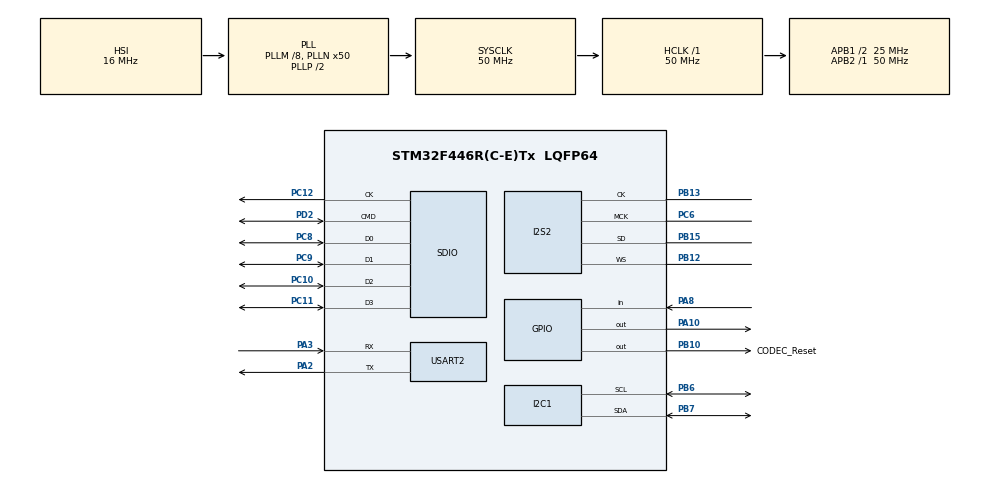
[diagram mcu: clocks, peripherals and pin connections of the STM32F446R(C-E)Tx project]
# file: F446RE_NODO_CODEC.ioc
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Dma.Request0=SPI2_RX
Dma.SPI2_RX.0.Direction=DMA_PERIPH_TO_MEMORY
Dma.SPI2_RX.0.FIFOMode=DMA_FIFOMODE_DISABLE
Dma.SPI2_RX.0.Instance=DMA1_Stream3
Dma.SPI2_RX.0.MemDataAlignment=DMA_MDATAALIGN_BYTE
Dma.SPI2_RX.0.MemInc=DMA_MINC_ENABLE
Dma.SPI2_RX.0.Mode=DMA_NORMAL
Dma.SPI2_RX.0.PeriphDataAlignment=DMA_PDATAALIGN_BYTE
Dma.SPI2_RX.0.PeriphInc=DMA_PINC_DISABLE
Dma.SPI2_RX.0.Priority=DMA_PRIORITY_LOW
FATFS.BSP.number=1
FATFS0.BSP.STBoard=false
FATFS0.BSP.api=Unknown
FATFS0.BSP.instance=PA8
FATFS0.BSP.ip=GPIO
FATFS0.BSP.mode=Input
FATFS0.BSP.name=Detect_SDIO
FATFS0.BSP.solution=PA8
I2S2.AudioFreq=I2S_AUDIOFREQ_48K
I2S2.ClockSource-Half_Duplex_Master=I2S_CLOCK_PLLR
I2S2.ErrorAudioFreq=1.72 %
I2S2.FullDuplexMode=I2S_FULLDUPLEXMODE_DISABLE
I2S2.Instance=SPI$Index
I2S2.Mode=I2S_MODE_MASTER_RX
I2S2.RealAudioFreq=48.828 KHz
I2S2.VirtualMode=I2S_MODE_MASTER
Mcu.Family=STM32F4
Mcu.Name=STM32F446R(C-E)Tx
Mcu.Package=LQFP64
NVIC.DMA1_Stream3_IRQn=true\:0\:0\:false\:false\:true\:false\:true\:true
NVIC.PriorityGroup=NVIC_PRIORITYGROUP_4
PA10.Signal=GPIO_Output
PA2.Mode=Asynchronous
PA2.Signal=USART2_TX
PA3.Mode=Asynchronous
PA3.Signal=USART2_RX
PA8.Signal=GPIO_Input
PB10.GPIO_Label=CODEC_Reset
PB10.Signal=GPIO_Output
PB12.Mode=Half_Duplex_Master
PB12.Signal=I2S2_WS
PB13.Mode=Half_Duplex_Master
PB13.Signal=I2S2_CK
PB15.Mode=Half_Duplex_Master
PB15.Signal=I2S2_SD
PB6.Mode=I2C
PB6.Signal=I2C1_SCL
PB7.Mode=I2C
PB7.Signal=I2C1_SDA
PC10.Mode=SD_4_bits_Wide_bus
PC10.Signal=SDIO_D2
PC11.Mode=SD_4_bits_Wide_bus
PC11.Signal=SDIO_D3
PC12.Mode=SD_4_bits_Wide_bus
PC12.Signal=SDIO_CK
PC6.Mode=Master_Clock_Activated
PC6.Signal=I2S2_MCK
PC8.Mode=SD_4_bits_Wide_bus
PC8.Signal=SDIO_D0
PC9.Mode=SD_4_bits_Wide_bus
PC9.Signal=SDIO_D1
PD2.Mode=SD_4_bits_Wide_bus
PD2.Signal=SDIO_CMD
PH0-OSC_IN.Mode=HSE-External-Oscillator
PH0-OSC_IN.Signal=RCC_OSC_IN
PH1-OSC_OUT.Mode=HSE-External-Oscillator
PH1-OSC_OUT.Signal=RCC_OSC_OUT
ProjectManager.HeapSize=0x200
ProjectManager.StackSize=0x400
ProjectManager.TargetToolchain=STM32CubeIDE
RCC.AHBFreq_Value=50000000
RCC.APB1CLKDivider=RCC_HCLK_DIV2
RCC.APB1Freq_Value=25000000
RCC.APB1TimFreq_Value=50000000
RCC.APB2Freq_Value=50000000
RCC.APB2TimFreq_Value=50000000
RCC.CortexFreq_Value=50000000
RCC.HCLKFreq_Value=50000000
RCC.PLLI2SM=8
RCC.PLLI2SN=50
RCC.PLLM=8
RCC.PLLN=50
RCC.PLLQ=3
RCC.SYSCLKFreq_VALUE=50000000
RCC.SYSCLKSource=RCC_SYSCLKSOURCE_PLLCLK
RCC.USBFreq_Value=33333333.333333332
RCC.VCOOutputFreq_Value=100000000
USART2.VirtualMode=VM_ASYNC
VP_FATFS_VS_SDIO.Mode=SDIO
board=custom

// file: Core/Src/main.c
/* USER CODE BEGIN Header */
/**
 ******************************************************************************
 * @file           : main.c
 * @brief          : Main program body
 ******************************************************************************
 * @attention
 *
 * Copyright (c) 2022 STMicroelectronics.
 * All rights reserved.
 *
 * This software is licensed under terms that can be found in the LICENSE file
 * in the root directory of this software component.
 * If no LICENSE file comes with this software, it is provided AS-IS.
 *
 ******************************************************************************
 */
/* USER CODE END Header */
#include "main.h"
#include "fatfs.h"

/* USER CODE BEGIN Includes */
#include "AIC3254.h"
#include "File_Handling.h"

/* USER CODE END Includes */

/* USER CODE BEGIN PD */
#define CODEC_BUF_LEN	40960
/* USER CODE END PD */

I2C_HandleTypeDef hi2c1;

I2S_HandleTypeDef hi2s2;
DMA_HandleTypeDef hdma_spi2_rx;

SD_HandleTypeDef hsd;

UART_HandleTypeDef huart2;

/* USER CODE BEGIN PV */
AIC3254_t codec;
uint16_t CODEC_BUF[CODEC_BUF_LEN];
uint16_t count;

/* USER CODE END PV */

void SystemClock_Config(void);
static void MX_GPIO_Init(void);
static void MX_DMA_Init(void);
static void MX_I2C1_Init(void);
static void MX_SDIO_SD_Init(void);
static void MX_I2S2_Init(void);
static void MX_USART2_UART_Init(void);

int main(void)
{

  /* MCU Configuration--------------------------------------------------------*/

  /* Reset of all peripherals, Initializes the Flash interface and the Systick. */
  HAL_Init();

  /* Configure the system clock */
  SystemClock_Config();

  /* Initialize all configured peripherals */
  MX_GPIO_Init();
  MX_DMA_Init();
  MX_I2C1_Init();
  MX_SDIO_SD_Init();
  MX_I2S2_Init();
  MX_FATFS_Init();
  MX_USART2_UART_Init();
  /* USER CODE BEGIN 2 */

	/* Initialize CODEC */
  HAL_GPIO_WritePin(CODEC_Reset_GPIO_Port, CODEC_Reset_Pin, GPIO_PIN_SET);
  HAL_Delay(1);
  HAL_GPIO_WritePin(CODEC_Reset_GPIO_Port, CODEC_Reset_Pin, GPIO_PIN_RESET);
  HAL_Delay(1);
  HAL_GPIO_WritePin(CODEC_Reset_GPIO_Port, CODEC_Reset_Pin, GPIO_PIN_SET);
  AIC3254_Init(&codec, &hi2c1);

	/* Buffer Audio */

  HAL_I2S_Receive_DMA(&hi2s2, CODEC_BUF, CODEC_BUF_LEN);

  /* USER CODE END 2 */

  /* Infinite loop */
	while (1) {

	}
}

void SystemClock_Config(void)
{
  RCC_OscInitTypeDef RCC_OscInitStruct = {0};
  RCC_ClkInitTypeDef RCC_ClkInitStruct = {0};

  /** Configure the main internal regulator output voltage
  */
  __HAL_RCC_PWR_CLK_ENABLE();
  __HAL_PWR_VOLTAGESCALING_CONFIG(PWR_REGULATOR_VOLTAGE_SCALE3);

  /** Initializes the RCC Oscillators according to the specified parameters
  * in the RCC_OscInitTypeDef structure.
  */
  RCC_OscInitStruct.OscillatorType = RCC_OSCILLATORTYPE_HSI;
  RCC_OscInitStruct.HSIState = RCC_HSI_ON;
  RCC_OscInitStruct.HSICalibrationValue = RCC_HSICALIBRATION_DEFAULT;
  RCC_OscInitStruct.PLL.PLLState = RCC_PLL_ON;
  RCC_OscInitStruct.PLL.PLLSource = RCC_PLLSOURCE_HSI;
  RCC_OscInitStruct.PLL.PLLM = 8;
  RCC_OscInitStruct.PLL.PLLN = 50;
  RCC_OscInitStruct.PLL.PLLP = RCC_PLLP_DIV2;
  RCC_OscInitStruct.PLL.PLLQ = 3;
  RCC_OscInitStruct.PLL.PLLR = 2;
  if (HAL_RCC_OscConfig(&RCC_OscInitStruct) != HAL_OK)
  {
    Error_Handler();
  }

  /** Initializes the CPU, AHB and APB buses clocks
  */
  RCC_ClkInitStruct.ClockType = RCC_CLOCKTYPE_HCLK|RCC_CLOCKTYPE_SYSCLK
                              |RCC_CLOCKTYPE_PCLK1|RCC_CLOCKTYPE_PCLK2;
  RCC_ClkInitStruct.SYSCLKSource = RCC_SYSCLKSOURCE_PLLCLK;
  RCC_ClkInitStruct.AHBCLKDivider = RCC_SYSCLK_DIV1;
  RCC_ClkInitStruct.APB1CLKDivider = RCC_HCLK_DIV2;
  RCC_ClkInitStruct.APB2CLKDivider = RCC_HCLK_DIV1;

  if (HAL_RCC_ClockConfig(&RCC_ClkInitStruct, FLASH_LATENCY_1) != HAL_OK)
  {
    Error_Handler();
  }
}

static void MX_I2C1_Init(void)
{

  hi2c1.Instance = I2C1;
  hi2c1.Init.ClockSpeed = 100000;
  hi2c1.Init.DutyCycle = I2C_DUTYCYCLE_2;
  hi2c1.Init.OwnAddress1 = 0;
  hi2c1.Init.AddressingMode = I2C_ADDRESSINGMODE_7BIT;
  hi2c1.Init.DualAddressMode = I2C_DUALADDRESS_DISABLE;
  hi2c1.Init.OwnAddress2 = 0;
  hi2c1.Init.GeneralCallMode = I2C_GENERALCALL_DISABLE;
  hi2c1.Init.NoStretchMode = I2C_NOSTRETCH_DISABLE;
  if (HAL_I2C_Init(&hi2c1) != HAL_OK)
  {
    Error_Handler();
  }

}

static void MX_I2S2_Init(void)
{

  hi2s2.Instance = SPI2;
  hi2s2.Init.Mode = I2S_MODE_MASTER_RX;
  hi2s2.Init.Standard = I2S_STANDARD_PHILIPS;
  hi2s2.Init.DataFormat = I2S_DATAFORMAT_16B;
  hi2s2.Init.MCLKOutput = I2S_MCLKOUTPUT_ENABLE;
  hi2s2.Init.AudioFreq = I2S_AUDIOFREQ_48K;
  hi2s2.Init.CPOL = I2S_CPOL_LOW;
  hi2s2.Init.ClockSource = I2S_CLOCK_PLL;
  hi2s2.Init.FullDuplexMode = I2S_FULLDUPLEXMODE_DISABLE;
  if (HAL_I2S_Init(&hi2s2) != HAL_OK)
  {
    Error_Handler();
  }

}

static void MX_SDIO_SD_Init(void)
{

  hsd.Instance = SDIO;
  hsd.Init.ClockEdge = SDIO_CLOCK_EDGE_RISING;
  hsd.Init.ClockBypass = SDIO_CLOCK_BYPASS_DISABLE;
  hsd.Init.ClockPowerSave = SDIO_CLOCK_POWER_SAVE_DISABLE;
  hsd.Init.BusWide = SDIO_BUS_WIDE_1B;
  hsd.Init.HardwareFlowControl = SDIO_HARDWARE_FLOW_CONTROL_DISABLE;
  hsd.Init.ClockDiv = 0;

}

static void MX_USART2_UART_Init(void)
{

  huart2.Instance = USART2;
  huart2.Init.BaudRate = 115200;
  huart2.Init.WordLength = UART_WORDLENGTH_8B;
  huart2.Init.StopBits = UART_STOPBITS_1;
  huart2.Init.Parity = UART_PARITY_NONE;
  huart2.Init.Mode = UART_MODE_TX_RX;
  huart2.Init.HwFlowCtl = UART_HWCONTROL_NONE;
  huart2.Init.OverSampling = UART_OVERSAMPLING_16;
  if (HAL_UART_Init(&huart2) != HAL_OK)
  {
    Error_Handler();
  }

}

static void MX_DMA_Init(void)
{

  /* DMA controller clock enable */
  __HAL_RCC_DMA1_CLK_ENABLE();

  /* DMA interrupt init */
  /* DMA1_Stream3_IRQn interrupt configuration */
  HAL_NVIC_SetPriority(DMA1_Stream3_IRQn, 0, 0);
  HAL_NVIC_EnableIRQ(DMA1_Stream3_IRQn);

}

static void MX_GPIO_Init(void)
{
  GPIO_InitTypeDef GPIO_InitStruct = {0};

  /* GPIO Ports Clock Enable */
  __HAL_RCC_GPIOH_CLK_ENABLE();
  __HAL_RCC_GPIOA_CLK_ENABLE();
  __HAL_RCC_GPIOB_CLK_ENABLE();
  __HAL_RCC_GPIOC_CLK_ENABLE();
  __HAL_RCC_GPIOD_CLK_ENABLE();

  /*Configure GPIO pin Output Level */
  HAL_GPIO_WritePin(CODEC_Reset_GPIO_Port, CODEC_Reset_Pin, GPIO_PIN_RESET);

  /*Configure GPIO pin Output Level */
  HAL_GPIO_WritePin(GPIOA, GPIO_PIN_10, GPIO_PIN_RESET);

  /*Configure GPIO pin : CODEC_Reset_Pin */
  GPIO_InitStruct.Pin = CODEC_Reset_Pin;
  GPIO_InitStruct.Mode = GPIO_MODE_OUTPUT_PP;
  GPIO_InitStruct.Pull = GPIO_NOPULL;
  GPIO_InitStruct.Speed = GPIO_SPEED_FREQ_LOW;
  HAL_GPIO_Init(CODEC_Reset_GPIO_Port, &GPIO_InitStruct);

  /*Configure GPIO pin : PA8 */
  GPIO_InitStruct.Pin = GPIO_PIN_8;
  GPIO_InitStruct.Mode = GPIO_MODE_INPUT;
  GPIO_InitStruct.Pull = GPIO_NOPULL;
  HAL_GPIO_Init(GPIOA, &GPIO_InitStruct);

  /*Configure GPIO pin : PA10 */
  GPIO_InitStruct.Pin = GPIO_PIN_10;
  GPIO_InitStruct.Mode = GPIO_MODE_OUTPUT_PP;
  GPIO_InitStruct.Pull = GPIO_NOPULL;
  GPIO_InitStruct.Speed = GPIO_SPEED_FREQ_LOW;
  HAL_GPIO_Init(GPIOA, &GPIO_InitStruct);

}

/* USER CODE BEGIN 4 */
void HAL_I2S_RxHalfCpltCallback(I2S_HandleTypeDef *hi2s) {
	HAL_GPIO_WritePin(GPIOA, GPIO_PIN_10, GPIO_PIN_SET);
}

void HAL_I2S_RxCpltCallback(I2S_HandleTypeDef *hi2s) {
	HAL_GPIO_WritePin(GPIOA, GPIO_PIN_10, GPIO_PIN_RESET);
	HAL_I2S_Receive_DMA(&hi2s2, CODEC_BUF, CODEC_BUF_LEN);
}

/* USER CODE END 4 */

void Error_Handler(void)
{
	__disable_irq();
	while (1) {
	}
}
